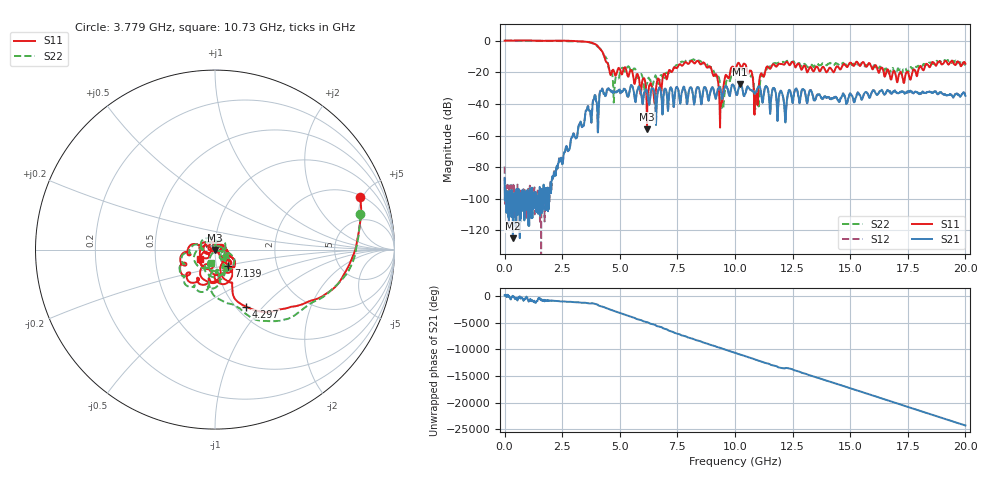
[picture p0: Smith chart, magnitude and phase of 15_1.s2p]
#  HZ  S  RI  R  50.00
! Rohde & Schwarz Vector Network Analyzer
! Rohde-Schwarz,ZNB20-2Port,1311601062102128,3.60
! Created: UTC 4/29/2024, 2:57:42 PM
! freq[Hz]  re:S11  im:S11  re:S21  im:S21  re:S12  im:S12  re:S22  im:S22
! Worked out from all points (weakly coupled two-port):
!   2007 points, 100 kHz to 20 GHz, reference 50 ohm
!   highest |S21| = -27.64 dB at 10.23 GHz (marker M1); lowest = -124.9 dB at 359 MHz (marker M2)
!   lowest |S11| = -56.0 dB at 6.182 GHz (marker M3), VSWR 1.00, Z = 50 - j0.157 ohm
!   |S11| at or under -10 dB: 4.326 GHz to end of sweep
!   |S22| runs from -43.5 to 0.1 dB; largest |S21 - S12| = 0.0021
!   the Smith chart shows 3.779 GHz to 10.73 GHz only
!   S11 on the Smith chart (normalised r, x): 3.779 GHz: 2.08, +4.77; 4.297 GHz: 1.11, -0.81; 7.139 GHz: 1.14, -0.21; 10.73 GHz: 0.84, -0.09
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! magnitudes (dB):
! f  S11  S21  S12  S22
! 100 kHz  0.0  -87.1  -79.6  0.1
! 359 MHz  0.0  -124.9  -106.0  0.0
! 2.213 GHz  -0.1  -84.5  -82.7  -0.3
! 3.34 GHz  -0.6  -54.0  -53.7  -0.6
! 3.779 GHz  -1.3  -50.0  -50.3  -1.6
! 4.297 GHz  -8.8  -33.5  -33.7  -9.0
! 4.776 GHz  -20.7  -32.3  -32.3  -28.8
! 5.354 GHz  -22.8  -35.4  -35.3  -16.4
! 6.182 GHz  -56.0  -32.1  -32.1  -27.3
! 6.67 GHz  -23.9  -31.3  -31.3  -27.2
! 7.139 GHz  -18.7  -34.0  -33.9  -20.3
! 8.644 GHz  -13.9  -30.1  -30.1  -14.3
! 9.183 GHz  -21.4  -35.6  -35.6  -22.5
! 9.392 GHz  -40.2  -32.8  -32.8  -34.1
! 10 GHz  -18.8  -31.2  -31.2  -19.4
! 10.23 GHz  -15.9  -27.6  -27.6  -16.8
! 10.73 GHz  -20.1  -31.4  -31.4  -22.3
! 10.92 GHz  -33.6  -32.4  -32.4  -34.4
! 11.42 GHz  -16.4  -30.2  -30.2  -16.8
! 13.34 GHz  -18.0  -32.8  -32.7  -15.3
! 16.67 GHz  -19.1  -31.8  -31.8  -20.5
! 20 GHz  -14.6  -34.9  -34.9  -14.4
